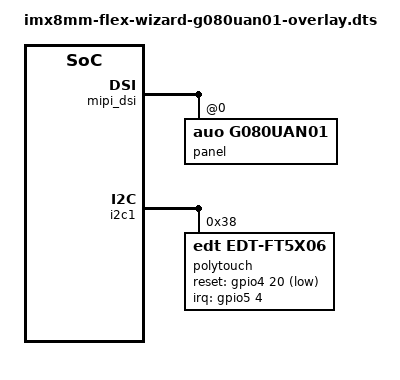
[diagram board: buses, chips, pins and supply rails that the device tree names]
// SPDX-License-Identifier: (GPL-2.0+ OR MIT)
/*
 * Copyright 2020 TechNexion Ltd.
 *
 * Author: Richard Hu <richard.hu@technexion.com>
 *         Ray Chang <ray.chang@technexion.com>
 *
 */

/dts-v1/;
/plugin/;

#include <dt-bindings/interrupt-controller/irq.h>
#include <dt-bindings/gpio/gpio.h>

/ {
	fragment@0 {
		target-path = "/";
		__overlay__ {
			backlight_mipi {
				status = "okay";
			};
		};
	};

	fragment@1 {
		target = <&mipi_dsi>;
		__overlay__ {
			status = "okay";
			#address-cells = <1>;
			#size-cells = <0>;

			panel@0 {
				compatible = "auo,g080uan01";
				reg = <0>;
				status = "okay";
			};
		};
	};

	fragment@2 {
		target = <&i2c1>;
		__overlay__ {
			#address-cells = <1>;
			#size-cells = <0>;
			status = "okay";

			polytouch: edt-ft5626@38 {
				compatible = "edt,edt-ft5x06";
				reg = <0x38>;
				pinctrl-names = "default";
				pinctrl-0 = <&pinctrl_touch_irq &pinctrl_touch_rst>;
				interrupt-parent = <&gpio5>;
				interrupts = <4 IRQ_TYPE_EDGE_FALLING>;
				reset-gpios = <&gpio4 20 GPIO_ACTIVE_LOW>;
				touchscreen-size-x = <1200>;
				touchscreen-size-y = <1920>;
			};
		};
	};
};
